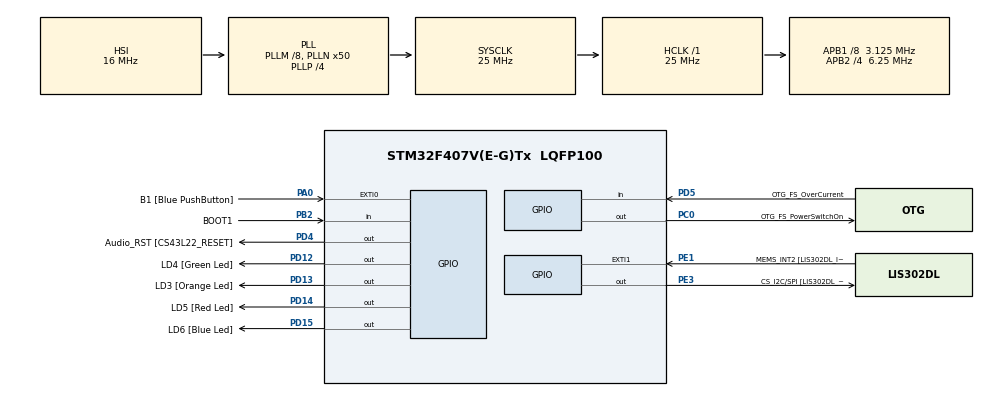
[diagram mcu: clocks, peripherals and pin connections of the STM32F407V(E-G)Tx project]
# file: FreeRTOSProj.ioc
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Mcu.Family=STM32F4
Mcu.Name=STM32F407V(E-G)Tx
Mcu.Package=LQFP100
NVIC.PriorityGroup=NVIC_PRIORITYGROUP_4
NVIC.TIM6_DAC_IRQn=true\:0\:0\:false\:false\:true\:false\:true
NVIC.TimeBase=TIM6_DAC_IRQn
NVIC.TimeBaseIP=TIM6
PA0-WKUP.GPIO_Label=B1 [Blue PushButton]
PA0-WKUP.GPIO_ModeDefaultEXTI=GPIO_MODE_EVT_RISING
PA0-WKUP.GPIO_PuPd=GPIO_NOPULL
PA0-WKUP.Signal=GPXTI0
PA10.GPIO_Label=OTG_FS_ID
PA10.GPIO_Mode=GPIO_MODE_AF_PP
PA10.GPIO_PuPd=GPIO_NOPULL
PA10.GPIO_Speed=GPIO_SPEED_FREQ_LOW
PA10.Signal=USB_OTG_FS_ID
PA11.GPIO_Label=OTG_FS_DM
PA11.GPIO_Mode=GPIO_MODE_AF_PP
PA11.GPIO_PuPd=GPIO_NOPULL
PA11.GPIO_Speed=GPIO_SPEED_FREQ_LOW
PA11.Signal=USB_OTG_FS_DM
PA12.GPIO_Label=OTG_FS_DP
PA12.GPIO_Mode=GPIO_MODE_AF_PP
PA12.GPIO_PuPd=GPIO_NOPULL
PA12.GPIO_Speed=GPIO_SPEED_FREQ_LOW
PA12.Signal=USB_OTG_FS_DP
PA13.GPIO_Label=SWDIO
PA13.Signal=SYS_JTMS-SWDIO
PA14.GPIO_Label=SWCLK
PA14.Signal=SYS_JTCK-SWCLK
PA4.GPIO_Label=I2S3_WS [CS43L22_LRCK]
PA4.GPIO_Mode=GPIO_MODE_AF_PP
PA4.GPIO_PuPd=GPIO_NOPULL
PA4.GPIO_Speed=GPIO_SPEED_FREQ_LOW
PA4.Signal=I2S3_WS
PA5.GPIO_Label=SPI1_SCK [LIS302DL_SCL/SPC]
PA5.GPIO_Mode=GPIO_MODE_AF_PP
PA5.GPIO_PuPd=GPIO_NOPULL
PA5.GPIO_Speed=GPIO_SPEED_FREQ_LOW
PA5.Signal=SPI1_SCK
PA6.GPIO_Label=SPI1_MISO [LIS302DL_SDO]
PA6.GPIO_Mode=GPIO_MODE_AF_PP
PA6.GPIO_PuPd=GPIO_NOPULL
PA6.GPIO_Speed=GPIO_SPEED_FREQ_LOW
PA6.Signal=SPI1_MISO
PA7.GPIO_Label=SPI1_MOSI [LIS302DL_SDA/SDI/SDO]
PA7.GPIO_Mode=GPIO_MODE_AF_PP
PA7.GPIO_PuPd=GPIO_NOPULL
PA7.GPIO_Speed=GPIO_SPEED_FREQ_LOW
PA7.Signal=SPI1_MOSI
PA9.GPIO_Label=VBUS_FS
PA9.GPIO_Mode=GPIO_MODE_INPUT
PA9.GPIO_PuPd=GPIO_NOPULL
PA9.Signal=USB_OTG_FS_VBUS
PB10.GPIO_Label=CLK_IN [MP45DT02_CLK]
PB10.GPIO_Mode=GPIO_MODE_AF_PP
PB10.GPIO_PuPd=GPIO_NOPULL
PB10.GPIO_Speed=GPIO_SPEED_FREQ_LOW
PB10.Signal=I2S2_CK
PB2.GPIO_Label=BOOT1
PB2.GPIO_Mode=GPIO_MODE_INPUT
PB2.GPIO_PuPd=GPIO_NOPULL
PB2.Signal=GPIO_Input
PB3.GPIO_Label=SWO
PB3.Signal=SYS_JTDO-SWO
PB6.GPIO_Label=Audio_SCL [CS43L22_SCL]
PB6.GPIO_Mode=GPIO_MODE_AF_OD
PB6.GPIO_PuPd=GPIO_NOPULL
PB6.GPIO_Speed=GPIO_SPEED_FREQ_LOW
PB6.Signal=I2C1_SCL
PB9.GPIO_Label=Audio_SDA [CS43L22_SDA]
PB9.GPIO_Mode=GPIO_MODE_AF_OD
PB9.GPIO_PuPd=GPIO_NOPULL
PB9.GPIO_Speed=GPIO_SPEED_FREQ_LOW
PB9.Signal=I2C1_SDA
PC0.GPIO_Label=OTG_FS_PowerSwitchOn
PC0.GPIO_PuPd=GPIO_NOPULL
PC0.GPIO_Speed=GPIO_SPEED_FREQ_LOW
PC0.PinState=GPIO_PIN_SET
PC0.Signal=GPIO_Output
PC10.GPIO_Label=I2S3_SCK [CS43L22_SCLK]
PC10.GPIO_Mode=GPIO_MODE_AF_PP
PC10.GPIO_PuPd=GPIO_NOPULL
PC10.GPIO_Speed=GPIO_SPEED_FREQ_LOW
PC10.Signal=I2S3_CK
PC12.GPIO_Label=I2S3_SD [CS43L22_SDIN]
PC12.GPIO_Mode=GPIO_MODE_AF_PP
PC12.GPIO_PuPd=GPIO_NOPULL
PC12.GPIO_Speed=GPIO_SPEED_FREQ_LOW
PC12.Signal=I2S3_SD
PC14-OSC32_IN.GPIO_Label=PC14-OSC32_IN
PC14-OSC32_IN.Signal=RCC_OSC32_IN
PC15-OSC32_OUT.GPIO_Label=PC15-OSC32_OUT
PC15-OSC32_OUT.Signal=RCC_OSC32_OUT
PC3.GPIO_Label=PDM_OUT [MP45DT02_DOUT]
PC3.GPIO_Mode=GPIO_MODE_AF_PP
PC3.GPIO_PuPd=GPIO_NOPULL
PC3.GPIO_Speed=GPIO_SPEED_FREQ_LOW
PC3.Signal=I2S2_SD
PC7.GPIO_Label=I2S3_MCK [CS43L22_MCLK]
PC7.GPIO_Mode=GPIO_MODE_AF_PP
PC7.GPIO_PuPd=GPIO_NOPULL
PC7.GPIO_Speed=GPIO_SPEED_FREQ_LOW
PC7.Signal=I2S3_MCK
PD12.GPIO_Label=LD4 [Green Led]
PD12.GPIO_PuPd=GPIO_NOPULL
PD12.GPIO_Speed=GPIO_SPEED_FREQ_LOW
PD12.Signal=GPIO_Output
PD13.GPIO_Label=LD3 [Orange Led]
PD13.GPIO_PuPd=GPIO_NOPULL
PD13.GPIO_Speed=GPIO_SPEED_FREQ_LOW
PD13.Signal=GPIO_Output
PD14.GPIO_Label=LD5 [Red Led]
PD14.GPIO_PuPd=GPIO_NOPULL
PD14.GPIO_Speed=GPIO_SPEED_FREQ_LOW
PD14.Signal=GPIO_Output
PD15.GPIO_Label=LD6 [Blue Led]
PD15.GPIO_PuPd=GPIO_NOPULL
PD15.GPIO_Speed=GPIO_SPEED_FREQ_LOW
PD15.Signal=GPIO_Output
PD4.GPIO_Label=Audio_RST [CS43L22_RESET]
PD4.GPIO_PuPd=GPIO_NOPULL
PD4.GPIO_Speed=GPIO_SPEED_FREQ_LOW
PD4.Signal=GPIO_Output
PD5.GPIO_Label=OTG_FS_OverCurrent
PD5.GPIO_Mode=GPIO_MODE_INPUT
PD5.GPIO_PuPd=GPIO_NOPULL
PD5.Signal=GPIO_Input
PE1.GPIO_Label=MEMS_INT2 [LIS302DL_INT2]
PE1.GPIO_ModeDefaultEXTI=GPIO_MODE_EVT_RISING
PE1.GPIO_PuPd=GPIO_NOPULL
PE1.Signal=GPXTI1
PE3.GPIO_Label=CS_I2C/SPI [LIS302DL_CS_I2C/SPI]
PE3.GPIO_PuPd=GPIO_NOPULL
PE3.GPIO_Speed=GPIO_SPEED_FREQ_LOW
PE3.Signal=GPIO_Output
PH0-OSC_IN.GPIO_Label=PH0-OSC_IN
PH0-OSC_IN.Signal=RCC_OSC_IN
PH1-OSC_OUT.GPIO_Label=PH1-OSC_OUT
PH1-OSC_OUT.Signal=RCC_OSC_OUT
ProjectManager.HeapSize=0x200
ProjectManager.StackSize=0x400
ProjectManager.TargetToolchain=STM32CubeIDE
RCC.48MHZClocksFreq_Value=14285714.285714285
RCC.AHBFreq_Value=25000000
RCC.APB1CLKDivider=RCC_HCLK_DIV8
RCC.APB1Freq_Value=3125000
RCC.APB1TimFreq_Value=6250000
RCC.APB2CLKDivider=RCC_HCLK_DIV4
RCC.APB2Freq_Value=6250000
RCC.APB2TimFreq_Value=12500000
RCC.CortexFreq_Value=25000000
RCC.HCLKFreq_Value=25000000
RCC.HSE_VALUE=8000000
RCC.HSI_VALUE=16000000
RCC.LSE_VALUE=32768
RCC.PLLM=8
RCC.PLLN=50
RCC.PLLP=RCC_PLLP_DIV4
RCC.PLLQ=7
RCC.SYSCLKFreq_VALUE=25000000
RCC.SYSCLKSource=RCC_SYSCLKSOURCE_PLLCLK
RCC.VCOOutputFreq_Value=100000000
VP_SYS_VS_tim6.Mode=TIM6
board=STM32F4DISCOVERY

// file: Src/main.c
/* USER CODE BEGIN Header */
/**
  ******************************************************************************
  * @file           : main.c
  * @brief          : Main program body
  ******************************************************************************
  * @attention
  *
  * <h2><center>&copy; Copyright (c) 2022 STMicroelectronics.
  * All rights reserved.</center></h2>
  *
  * This software component is licensed by ST under BSD 3-Clause license,
  * the "License"; You may not use this file except in compliance with the
  * License. You may obtain a copy of the License at:
  *                        opensource.org/licenses/BSD-3-Clause
  *
  ******************************************************************************
  */
/* USER CODE END Header */

#include "main.h"
#include <stdio.h>

/* USER CODE BEGIN Includes */
#include "FreeRTOS.h"
#include "Task.h"
#include <queue.h>
#include <semphr.h>
/* USER CODE END Includes */

void SystemClock_Config(void);
static void MX_GPIO_Init(void);
/* USER CODE BEGIN PFP */
static void Sender_Task(void* parameters);
static void Receiver_Task(void* parameters);
void Access_Precious_Resource(void);
static void user1(void* paramenters);
static void user2(void* paramenters);
/* USER CODE END PFP */

/* USER CODE BEGIN 0 */
xQueueHandle Global_Queue_Handle=0;
xSemaphoreHandle gatekeeper=0;
/* USER CODE END 0 */

int main(void)
{
  /* USER CODE BEGIN 1 */
	TaskHandle_t task1_handle;
	TaskHandle_t task2_handle;
	TaskHandle_t user1_handle;
	TaskHandle_t user2_handle;

	BaseType_t status;

  /* USER CODE END 1 */

  /* MCU Configuration--------------------------------------------------------*/

  /* Reset of all peripherals, Initializes the Flash interface and the Systick. */
  HAL_Init();

  /* Configure the system clock */
  SystemClock_Config();

  /* Initialize all configured peripherals */
  MX_GPIO_Init();
  /* USER CODE BEGIN 2 */
  gatekeeper = xSemaphoreCreateMutex();
  Global_Queue_Handle = xQueueCreate(10, sizeof(int));
  status = xTaskCreate(Sender_Task,"Task-1",512,"Hello World from Task-1",2,&task1_handle);
  configASSERT(status == pdPASS);
  status = xTaskCreate(Receiver_Task,"Task-2",200,"Hello World from Task-2",2,&task2_handle);
  configASSERT(status == pdPASS);

  status =  xTaskCreate(user1, "User 1" , 512, "USer -1", 2, &user1_handle);
  configASSERT(status == pdPASS);

  status =  xTaskCreate(user2, "User 2" , 512, "USer -2", 2, &user2_handle);
  configASSERT(status == pdPASS);

  /* USER CODE END 2 */
  vTaskStartScheduler();
  /* Infinite loop */
  while (1)
  {

  }
}

void SystemClock_Config(void)
{
  RCC_OscInitTypeDef RCC_OscInitStruct = {0};
  RCC_ClkInitTypeDef RCC_ClkInitStruct = {0};

  /** Configure the main internal regulator output voltage
  */
  __HAL_RCC_PWR_CLK_ENABLE();
  __HAL_PWR_VOLTAGESCALING_CONFIG(PWR_REGULATOR_VOLTAGE_SCALE1);
  /** Initializes the CPU, AHB and APB busses clocks
  */
  RCC_OscInitStruct.OscillatorType = RCC_OSCILLATORTYPE_HSI;
  RCC_OscInitStruct.HSIState = RCC_HSI_ON;
  RCC_OscInitStruct.HSICalibrationValue = RCC_HSICALIBRATION_DEFAULT;
  RCC_OscInitStruct.PLL.PLLState = RCC_PLL_ON;
  RCC_OscInitStruct.PLL.PLLSource = RCC_PLLSOURCE_HSI;
  RCC_OscInitStruct.PLL.PLLM = 8;
  RCC_OscInitStruct.PLL.PLLN = 50;
  RCC_OscInitStruct.PLL.PLLP = RCC_PLLP_DIV4;
  RCC_OscInitStruct.PLL.PLLQ = 7;
  if (HAL_RCC_OscConfig(&RCC_OscInitStruct) != HAL_OK)
  {
    Error_Handler();
  }
  /** Initializes the CPU, AHB and APB busses clocks
  */
  RCC_ClkInitStruct.ClockType = RCC_CLOCKTYPE_HCLK|RCC_CLOCKTYPE_SYSCLK
                              |RCC_CLOCKTYPE_PCLK1|RCC_CLOCKTYPE_PCLK2;
  RCC_ClkInitStruct.SYSCLKSource = RCC_SYSCLKSOURCE_PLLCLK;
  RCC_ClkInitStruct.AHBCLKDivider = RCC_SYSCLK_DIV1;
  RCC_ClkInitStruct.APB1CLKDivider = RCC_HCLK_DIV8;
  RCC_ClkInitStruct.APB2CLKDivider = RCC_HCLK_DIV4;

  if (HAL_RCC_ClockConfig(&RCC_ClkInitStruct, FLASH_LATENCY_0) != HAL_OK)
  {
    Error_Handler();
  }
}

static void MX_GPIO_Init(void)
{
  GPIO_InitTypeDef GPIO_InitStruct = {0};

  /* GPIO Ports Clock Enable */
  __HAL_RCC_GPIOE_CLK_ENABLE();
  __HAL_RCC_GPIOC_CLK_ENABLE();
  __HAL_RCC_GPIOH_CLK_ENABLE();
  __HAL_RCC_GPIOA_CLK_ENABLE();
  __HAL_RCC_GPIOB_CLK_ENABLE();
  __HAL_RCC_GPIOD_CLK_ENABLE();

  /*Configure GPIO pin Output Level */
  HAL_GPIO_WritePin(CS_I2C_SPI_GPIO_Port, CS_I2C_SPI_Pin, GPIO_PIN_RESET);

  /*Configure GPIO pin Output Level */
  HAL_GPIO_WritePin(OTG_FS_PowerSwitchOn_GPIO_Port, OTG_FS_PowerSwitchOn_Pin, GPIO_PIN_SET);

  /*Configure GPIO pin Output Level */
  HAL_GPIO_WritePin(GPIOD, LD4_Pin|LD3_Pin|LD5_Pin|LD6_Pin
                          |Audio_RST_Pin, GPIO_PIN_RESET);

  /*Configure GPIO pin : CS_I2C_SPI_Pin */
  GPIO_InitStruct.Pin = CS_I2C_SPI_Pin;
  GPIO_InitStruct.Mode = GPIO_MODE_OUTPUT_PP;
  GPIO_InitStruct.Pull = GPIO_NOPULL;
  GPIO_InitStruct.Speed = GPIO_SPEED_FREQ_LOW;
  HAL_GPIO_Init(CS_I2C_SPI_GPIO_Port, &GPIO_InitStruct);

  /*Configure GPIO pin : OTG_FS_PowerSwitchOn_Pin */
  GPIO_InitStruct.Pin = OTG_FS_PowerSwitchOn_Pin;
  GPIO_InitStruct.Mode = GPIO_MODE_OUTPUT_PP;
  GPIO_InitStruct.Pull = GPIO_NOPULL;
  GPIO_InitStruct.Speed = GPIO_SPEED_FREQ_LOW;
  HAL_GPIO_Init(OTG_FS_PowerSwitchOn_GPIO_Port, &GPIO_InitStruct);

  /*Configure GPIO pin : PDM_OUT_Pin */
  GPIO_InitStruct.Pin = PDM_OUT_Pin;
  GPIO_InitStruct.Mode = GPIO_MODE_AF_PP;
  GPIO_InitStruct.Pull = GPIO_NOPULL;
  GPIO_InitStruct.Speed = GPIO_SPEED_FREQ_LOW;
  GPIO_InitStruct.Alternate = GPIO_AF5_SPI2;
  HAL_GPIO_Init(PDM_OUT_GPIO_Port, &GPIO_InitStruct);

  /*Configure GPIO pin : B1_Pin */
  GPIO_InitStruct.Pin = B1_Pin;
  GPIO_InitStruct.Mode = GPIO_MODE_EVT_RISING;
  GPIO_InitStruct.Pull = GPIO_NOPULL;
  HAL_GPIO_Init(B1_GPIO_Port, &GPIO_InitStruct);

  /*Configure GPIO pin : I2S3_WS_Pin */
  GPIO_InitStruct.Pin = I2S3_WS_Pin;
  GPIO_InitStruct.Mode = GPIO_MODE_AF_PP;
  GPIO_InitStruct.Pull = GPIO_NOPULL;
  GPIO_InitStruct.Speed = GPIO_SPEED_FREQ_LOW;
  GPIO_InitStruct.Alternate = GPIO_AF6_SPI3;
  HAL_GPIO_Init(I2S3_WS_GPIO_Port, &GPIO_InitStruct);

  /*Configure GPIO pins : SPI1_SCK_Pin SPI1_MISO_Pin SPI1_MOSI_Pin */
  GPIO_InitStruct.Pin = SPI1_SCK_Pin|SPI1_MISO_Pin|SPI1_MOSI_Pin;
  GPIO_InitStruct.Mode = GPIO_MODE_AF_PP;
  GPIO_InitStruct.Pull = GPIO_NOPULL;
  GPIO_InitStruct.Speed = GPIO_SPEED_FREQ_LOW;
  GPIO_InitStruct.Alternate = GPIO_AF5_SPI1;
  HAL_GPIO_Init(GPIOA, &GPIO_InitStruct);

  /*Configure GPIO pin : BOOT1_Pin */
  GPIO_InitStruct.Pin = BOOT1_Pin;
  GPIO_InitStruct.Mode = GPIO_MODE_INPUT;
  GPIO_InitStruct.Pull = GPIO_NOPULL;
  HAL_GPIO_Init(BOOT1_GPIO_Port, &GPIO_InitStruct);

  /*Configure GPIO pin : CLK_IN_Pin */
  GPIO_InitStruct.Pin = CLK_IN_Pin;
  GPIO_InitStruct.Mode = GPIO_MODE_AF_PP;
  GPIO_InitStruct.Pull = GPIO_NOPULL;
  GPIO_InitStruct.Speed = GPIO_SPEED_FREQ_LOW;
  GPIO_InitStruct.Alternate = GPIO_AF5_SPI2;
  HAL_GPIO_Init(CLK_IN_GPIO_Port, &GPIO_InitStruct);

  /*Configure GPIO pins : LD4_Pin LD3_Pin LD5_Pin LD6_Pin
                           Audio_RST_Pin */
  GPIO_InitStruct.Pin = LD4_Pin|LD3_Pin|LD5_Pin|LD6_Pin
                          |Audio_RST_Pin;
  GPIO_InitStruct.Mode = GPIO_MODE_OUTPUT_PP;
  GPIO_InitStruct.Pull = GPIO_NOPULL;
  GPIO_InitStruct.Speed = GPIO_SPEED_FREQ_LOW;
  HAL_GPIO_Init(GPIOD, &GPIO_InitStruct);

  /*Configure GPIO pins : I2S3_MCK_Pin I2S3_SCK_Pin I2S3_SD_Pin */
  GPIO_InitStruct.Pin = I2S3_MCK_Pin|I2S3_SCK_Pin|I2S3_SD_Pin;
  GPIO_InitStruct.Mode = GPIO_MODE_AF_PP;
  GPIO_InitStruct.Pull = GPIO_NOPULL;
  GPIO_InitStruct.Speed = GPIO_SPEED_FREQ_LOW;
  GPIO_InitStruct.Alternate = GPIO_AF6_SPI3;
  HAL_GPIO_Init(GPIOC, &GPIO_InitStruct);

  /*Configure GPIO pin : VBUS_FS_Pin */
  GPIO_InitStruct.Pin = VBUS_FS_Pin;
  GPIO_InitStruct.Mode = GPIO_MODE_INPUT;
  GPIO_InitStruct.Pull = GPIO_NOPULL;
  HAL_GPIO_Init(VBUS_FS_GPIO_Port, &GPIO_InitStruct);

  /*Configure GPIO pins : OTG_FS_ID_Pin OTG_FS_DM_Pin OTG_FS_DP_Pin */
  GPIO_InitStruct.Pin = OTG_FS_ID_Pin|OTG_FS_DM_Pin|OTG_FS_DP_Pin;
  GPIO_InitStruct.Mode = GPIO_MODE_AF_PP;
  GPIO_InitStruct.Pull = GPIO_NOPULL;
  GPIO_InitStruct.Speed = GPIO_SPEED_FREQ_LOW;
  GPIO_InitStruct.Alternate = GPIO_AF10_OTG_FS;
  HAL_GPIO_Init(GPIOA, &GPIO_InitStruct);

  /*Configure GPIO pin : OTG_FS_OverCurrent_Pin */
  GPIO_InitStruct.Pin = OTG_FS_OverCurrent_Pin;
  GPIO_InitStruct.Mode = GPIO_MODE_INPUT;
  GPIO_InitStruct.Pull = GPIO_NOPULL;
  HAL_GPIO_Init(OTG_FS_OverCurrent_GPIO_Port, &GPIO_InitStruct);

  /*Configure GPIO pins : Audio_SCL_Pin Audio_SDA_Pin */
  GPIO_InitStruct.Pin = Audio_SCL_Pin|Audio_SDA_Pin;
  GPIO_InitStruct.Mode = GPIO_MODE_AF_OD;
  GPIO_InitStruct.Pull = GPIO_PULLUP;
  GPIO_InitStruct.Speed = GPIO_SPEED_FREQ_LOW;
  GPIO_InitStruct.Alternate = GPIO_AF4_I2C1;
  HAL_GPIO_Init(GPIOB, &GPIO_InitStruct);

  /*Configure GPIO pin : MEMS_INT2_Pin */
  GPIO_InitStruct.Pin = MEMS_INT2_Pin;
  GPIO_InitStruct.Mode = GPIO_MODE_EVT_RISING;
  GPIO_InitStruct.Pull = GPIO_NOPULL;
  HAL_GPIO_Init(MEMS_INT2_GPIO_Port, &GPIO_InitStruct);

}

/* USER CODE BEGIN 4 */
void Access_Precious_Resource(void)
{

}
static void user1(void* paramenters)
{
	while(1)
	{
		if(xSemaphoreTake(gatekeeper, pdMS_TO_TICKS(1000)))
		{
			printf("User 1 get access to precious source");
			Access_Precious_Resource();
			xSemaphoreGive(gatekeeper);
		}
		else
		{
			printf("Failed to get access with in 1 Sec");
		}
	}
}

static void user2(void* paramenters)
{
	while(1)
	{
		if(xSemaphoreTake(gatekeeper, pdMS_TO_TICKS(1000)))
		{
			printf("User 2 get access to precious source");
			Access_Precious_Resource();
			xSemaphoreGive(gatekeeper);
		}
		else
		{
			printf("Failed to get access with in 1 Sec");
		}
	}
}

static void Sender_Task(void* parameters)
{
while(1)
	{
	int i=0;
	i++;
	//printf("%s", (char *) parameters);
	printf("Send to Receiver");
	if(!( xQueueSend(Global_Queue_Handle,&i,100)) )
			{
				printf("failed to send in Queue");
			}
	vTaskDelay(pdMS_TO_TICKS(1000));
	}
}

static void Receiver_Task(void* parameters)
{

	while(1)
		{
		unsigned int recv_i;
		//printf("%s", (char *) parameters);
		if(  (xQueueReceive(Global_Queue_Handle, &recv_i, pdMS_TO_TICKS(1000))) )
		{
			printf("Receiver receiving %d", recv_i);
		}
		else
		{
			printf("failed to receive in Queue");
		}
		vTaskDelay(pdMS_TO_TICKS(1000));
		}
}
/* USER CODE END 4 */

void HAL_TIM_PeriodElapsedCallback(TIM_HandleTypeDef *htim)
{
  if (htim->Instance == TIM6) {
    HAL_IncTick();
  }
}

void Error_Handler(void)
{
}

/************************ (C) COPYRIGHT STMicroelectronics *****END OF FILE****/
